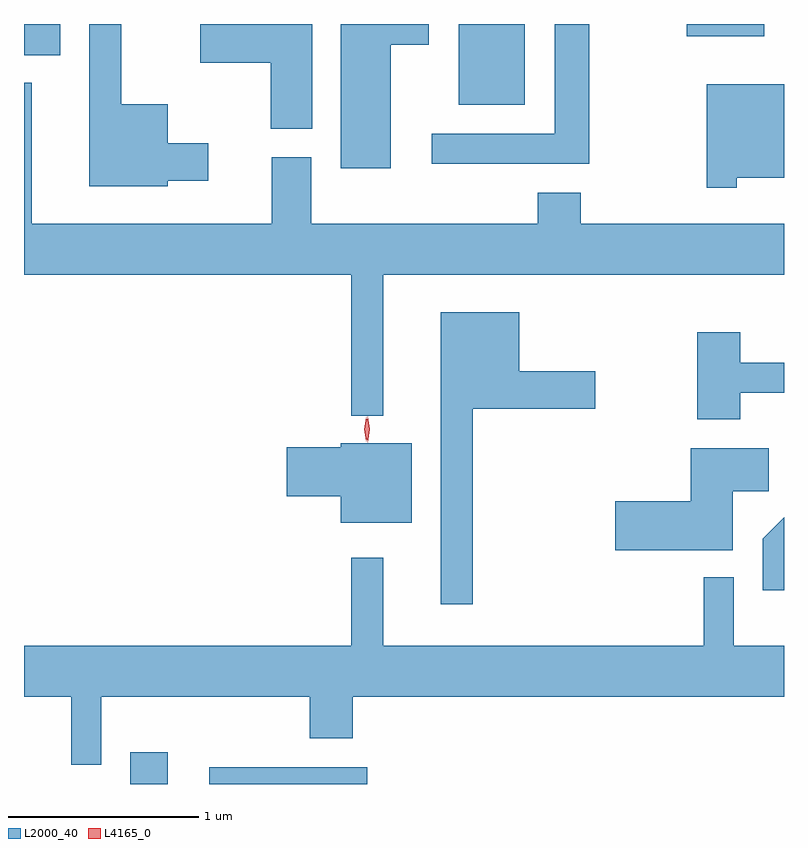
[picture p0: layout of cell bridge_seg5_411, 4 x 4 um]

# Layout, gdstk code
import gdstk
lib = gdstk.Library(unit=1e-6, precision=1e-09)
def R(c, l, rs):  # rectangles x0, y0, x1, y1
    for r in rs: c.add(gdstk.rectangle(r[:2], r[2:], *l))
def P(c, l, *ps):  # polygons
    for p in ps: c.add(gdstk.Polygon(p, *l))
L2000_40 = (2000, 40)
L4165_0 = (4165, 0)

bridge_seg5_411 = lib.new_cell('bridge_seg5_411')
R(bridge_seg5_411, L2000_40, [(238.976,1516.276,239.174,1516.444), (239.393,1516.276,240.224,1516.364), (240.706,1519.851,241.054,1520.276), (238.418,1520.111,238.609,1520.276), (241.906,1520.211,242.314,1520.276)])
P(bridge_seg5_411, L2000_40, [(239.174,1519.451),(239.389,1519.451),(239.389,1519.649),(239.174,1519.649),(239.174,1519.854),(238.929,1519.854),(238.929,1520.276),(238.761,1520.276),(238.761,1519.421),(239.174,1519.421)],
  [(241.394,1520.276),(241.211,1520.276),(241.211,1519.699),(240.563,1519.699),(240.563,1519.541),(241.394,1519.541)],
  [(240.349,1520.166),(240.549,1520.166),(240.549,1520.276),(240.086,1520.276),(240.086,1519.516),(240.349,1519.516)],
  [(239.934,1520.276),(239.346,1520.276),(239.346,1520.071),(239.716,1520.071),(239.716,1519.726),(239.934,1519.726)],
  [(240.309,1518.956),(242.418,1518.956),(242.418,1519.224),(241.349,1519.224),(241.349,1519.389),(241.121,1519.389),(241.121,1519.224),(239.929,1519.224),(239.929,1519.574),(239.721,1519.574),(239.721,1519.224),(238.459,1519.224),(238.459,1519.968),(238.418,1519.968),(238.418,1518.956),(240.141,1518.956),(240.141,1518.213),(240.309,1518.213)],
  [(242.169,1519.466),(242.418,1519.466),(242.418,1519.959),(242.011,1519.959),(242.011,1519.413),(242.169,1519.413)],
  [(240.779,1518.251),(241.424,1518.251),(241.424,1518.449),(241.024,1518.449),(241.024,1518.759),(240.611,1518.759),(240.611,1517.223),(240.779,1517.223)],
  [(242.189,1518.336),(242.418,1518.336),(242.418,1518.494),(242.189,1518.494),(242.189,1518.654),(241.961,1518.654),(241.961,1518.196),(242.189,1518.196)],
  [(240.459,1518.069),(240.086,1518.069),(240.086,1518.049),(239.801,1518.049),(239.801,1517.791),(240.086,1517.791),(240.086,1517.651),(240.459,1517.651)],
  [(242.149,1517.816),(242.339,1517.816),(242.339,1518.044),(241.926,1518.044),(241.926,1517.764),(241.531,1517.764),(241.531,1517.506),(242.149,1517.506)],
  [(242.418,1517.679),(242.306,1517.567),(242.306,1517.296),(242.418,1517.296)],
  [(238.824,1516.736),(239.921,1516.736),(239.921,1516.516),(240.149,1516.516),(240.149,1516.736),(242.418,1516.736),(242.418,1517.004),(242.154,1517.004),(242.154,1517.363),(241.996,1517.363),(241.996,1517.004),(240.309,1517.004),(240.309,1517.468),(240.141,1517.468),(240.141,1517.004),(238.418,1517.004),(238.418,1516.736),(238.666,1516.736),(238.666,1516.378),(238.824,1516.378)])
P(bridge_seg5_411, L4165_0, [(240.227,1518.074),(240.218,1518.142),(240.227,1518.21),(240.227,1518.21),(240.228,1518.21),(240.237,1518.142),(240.228,1518.074),(240.228,1518.074)],
  [(240.219,1518.08),(240.219,1518.081),(240.209,1518.144),(240.219,1518.206),(240.219,1518.207),(240.22,1518.206),(240.229,1518.144),(240.22,1518.081)])

lib.write_gds('bridge_seg5_411.gds')
